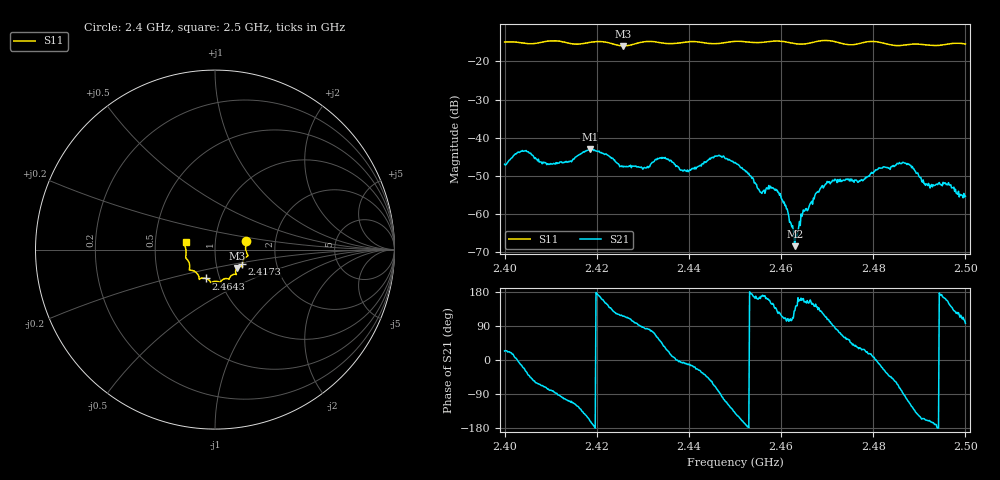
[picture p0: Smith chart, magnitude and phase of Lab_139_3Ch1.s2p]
# Hz S RI R 50
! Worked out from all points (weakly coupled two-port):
!   601 points, 2.4 GHz to 2.5 GHz, reference 50 ohm
!   highest |S21| = -43.00 dB at 2.4185 GHz (marker M1); lowest = -68.4 dB at 2.463 GHz (marker M2)
!   lowest |S11| = -15.9 dB at 2.4257 GHz (marker M3), VSWR 1.38, Z = 62.5 - j13.1 ohm
!   |S11| at or under -10 dB: start of sweep to end of sweep
!   S12 and S22 are empty: the file has one direction only
!   S11 on the Smith chart (normalised r, x): 2.4 GHz: 1.41, +0.14; 2.4173 GHz: 1.34, -0.23; 2.4643 GHz: 0.86, -0.29; 2.5 GHz: 0.72, +0.06
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2.4e9  0.1729 0.0488  0.00414 0.00182  0 0  0 0
2.404167e9  0.1718 0.0237  0.0062 -0.00244  0 0  0 0
2.409667e9  0.1824 -0.0319  0.000842 -0.00445  0 0  0 0
2.416667e9  0.153 -0.0742  -0.00424 -0.00457  0 0  0 0
2.417333e9  0.1519 -0.0818  -0.00511 -0.00403  0 0  0 0
2.4185e9  0.1523 -0.092  -0.00666 -0.00238  0 0  0 0
2.425667e9  0.1229 -0.1019  -0.00183 0.00386  0 0  0 0
2.433333e9  0.1134 -0.1372  0.00291 0.00447  0 0  0 0
2.439e9  0.0802 -0.1594  0.00378 -0.000524  0 0  0 0
2.446167e9  0.0465 -0.1651  0.00119 -0.00564  0 0  0 0
2.45e9  0.029 -0.181  -0.00364 -0.00308  0 0  0 0
2.4555e9  -0.00232 -0.1772  -0.00184 0.000591  0 0  0 0
2.459333e9  -0.023 -0.1835  -0.00105 0.00162  0 0  0 0
2.463e9  -0.0365 -0.1671  -0.000247 0.00029  0 0  0 0
2.464333e9  -0.0499 -0.1609  -0.000965 0.000291  0 0  0 0
2.466667e9  -0.0759 -0.1594  -0.00124 0.000799  0 0  0 0
2.47e9  -0.0884 -0.1659  -0.000781 0.00257  0 0  0 0
2.483333e9  -0.141 -0.0901  0.00306 -0.00257  0 0  0 0
2.487333e9  -0.1569 -0.0539  -0.00105 -0.00434  0 0  0 0
2.491833e9  -0.1617 -0.0271  -0.00223 -0.000819  0 0  0 0
2.496e9  -0.1668 0.0197  -0.00226 0.000953  0 0  0 0
2.5e9  -0.1637 0.043  -0.000208 0.00171  0 0  0 0
